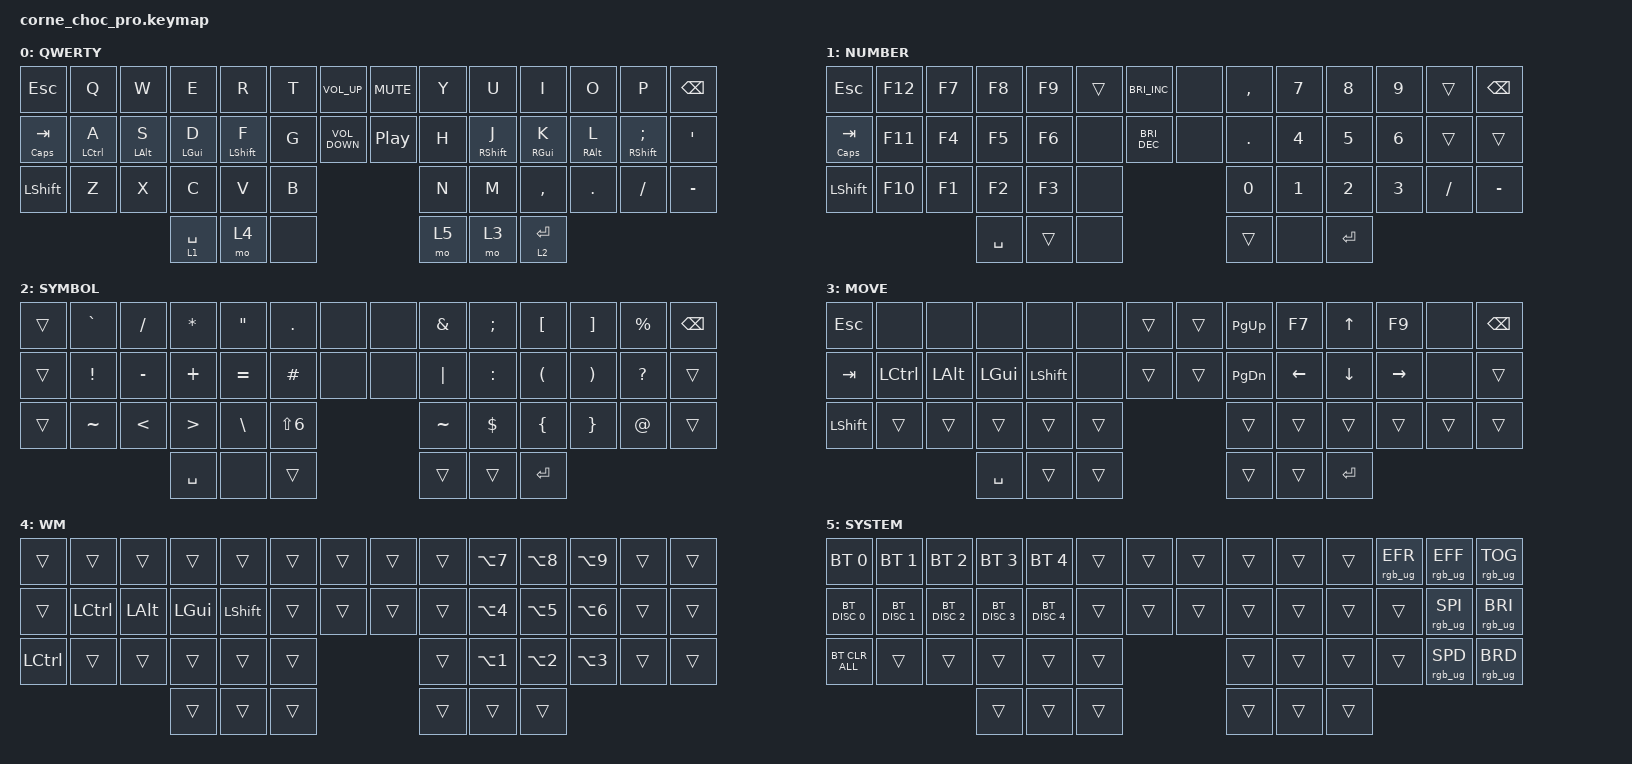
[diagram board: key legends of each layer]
/*
 * Copyright (c) 2020 The ZMK Contributors
 *
 * SPDX-License-Identifier: MIT
 */

#include <dt-bindings/zmk/behaviors.h>
#include <behaviors.dtsi>
#include <dt-bindings/zmk/bt.h>
#include <dt-bindings/zmk/keys.h>
#include <dt-bindings/zmk/rgb.h>

#define LHYP LS(LA(LC(LGUI)))   /* ⇧⌥⌃⌘  on the left side  */
#define RHYP RS(RA(RC(RGUI)))   /* ⇧⌥⌃⌘  on the right side */
#define KEYS_L 0 1 2 3 4 5 6 14 15 16 17 18 19 20 28 29 30 31 32 33 40 41 42
#define KEYS_R 7 8 9 10 11 12 13 21 22 23 24 25 26 27 34 35 36 37 38 39 43 44 45

/ {
    behaviors {
        hml: home_row_mod_left {
            compatible = "zmk,behavior-hold-tap";
            #binding-cells = <2>;
            flavor = "balanced";
            require-prior-idle-ms = <150>;   /* keeps fast typing snappy   */
            tapping-term-ms = <280>;   /* gives you 0.28 s to decide */
            quick-tap-ms = <225>;   /* repeat-tap grace window    */
            bindings = <&kp>, <&kp>;

            /* hold-trigger-key-positions = <KEYS_R>; */

            hold-trigger-on-release;
        };

        hmr: home_row_mod_right {
            compatible = "zmk,behavior-hold-tap";
            #binding-cells = <2>;
            flavor = "balanced";
            require-prior-idle-ms = <150>;
            tapping-term-ms = <280>;
            quick-tap-ms = <225>;
            bindings = <&kp>, <&kp>;

            /* hold-trigger-key-positions = <KEYS_L>; */

            hold-trigger-on-release;
        };
    };

    keymap {
        compatible = "zmk,keymap";

        default_layer {
            display-name = "QWERTY";
            bindings = <
&kp ESC         &kp Q                &kp W            &kp E            &kp R              &kp T  &kp C_VOLUME_UP    &kp C_MUTE        &kp Y  &kp U               &kp I             &kp O             &kp P                  &kp BSPC
&mt CAPS TAB    &hml LEFT_CONTROL A  &hml LEFT_ALT S  &hml LEFT_GUI D  &hml LEFT_SHIFT F  &kp G  &kp C_VOLUME_DOWN  &kp C_PLAY_PAUSE  &kp H  &hmr RIGHT_SHIFT J  &hmr RIGHT_GUI K  &hmr RIGHT_ALT L  &hmr RIGHT_SHIFT SEMI  &kp APOS
&kp LEFT_SHIFT  &kp Z                &kp X            &kp C            &kp V              &kp B                                       &kp N  &kp M               &kp COMMA         &kp DOT           &kp FSLH               &kp MINUS
                                                      &lt 1 SPACE      &mo 4              &none                                       &mo 5  &mo 3               &lt 2 ENTER
            >;
        };

        number {
            display-name = "NUMBER";
            bindings = <
&kp ESCAPE      &kp F12  &kp F7  &kp F8     &kp F9  &trans  &kp C_BRIGHTNESS_INC  &none  &kp COMMA  &kp N7  &kp N8     &kp N9  &trans    &kp BSPC
&mt CAPS TAB    &kp F11  &kp F4  &kp F5     &kp F6  &none   &kp C_BRIGHTNESS_DEC  &none  &kp DOT    &kp N4  &kp N5     &kp N6  &trans    &trans
&kp LEFT_SHIFT  &kp F10  &kp F1  &kp F2     &kp F3  &none                                &kp N0     &kp N1  &kp N2     &kp N3  &kp FSLH  &kp MINUS
                                 &kp SPACE  &trans  &none                                &trans     &none   &kp ENTER
            >;
        };

        symbol_layer {
            display-name = "SYMBOL";
            bindings = <
&trans  &kp GRAVE        &kp SLASH      &kp ASTERISK      &kp DOUBLE_QUOTES  &kp PERIOD        &none  &none  &kp AMPERSAND  &kp SEMI    &kp LEFT_BRACKET      &kp RIGHT_BRACKET      &kp PERCENT   &kp BACKSPACE
&trans  &kp EXCLAMATION  &kp MINUS      &kp PLUS          &kp EQUAL          &kp HASH          &none  &none  &kp PIPE       &kp COLON   &kp LEFT_PARENTHESIS  &kp RIGHT_PARENTHESIS  &kp QUESTION  &trans
&trans  &kp TILDE        &kp LESS_THAN  &kp GREATER_THAN  &kp BACKSLASH      &kp LS(NUMBER_6)                &kp TILDE      &kp DOLLAR  &kp LEFT_BRACE        &kp RIGHT_BRACE        &kp AT        &trans
                                        &kp SPACE         &none              &trans                          &trans         &trans      &kp ENTER
            >;
        };

        move {
            display-name = "MOVE";
            bindings = <
&kp ESCAPE      &none             &none         &none         &none           &none   &trans  &trans  &kp PAGE_UP    &kp F7    &kp UP_ARROW  &kp F9     &none   &kp BACKSPACE
&kp TAB         &kp LEFT_CONTROL  &kp LEFT_ALT  &kp LEFT_GUI  &kp LEFT_SHIFT  &none   &trans  &trans  &kp PAGE_DOWN  &kp LEFT  &kp DOWN      &kp RIGHT  &none   &trans
&kp LEFT_SHIFT  &trans            &trans        &trans        &trans          &trans                  &trans         &trans    &trans        &trans     &trans  &trans
                                                &kp SPACE     &trans          &trans                  &trans         &trans    &kp ENTER
            >;
        };

        WM {
            display-name = "WM";
            bindings = <
&trans     &trans     &trans    &trans    &trans     &trans  &trans  &trans  &trans  &kp LA(N7)  &kp LA(N8)  &kp LA(N9)  &trans  &trans
&trans     &kp LCTRL  &kp LALT  &kp LGUI  &kp LSHFT  &trans  &trans  &trans  &trans  &kp LA(N4)  &kp LA(N5)  &kp LA(N6)  &trans  &trans
&kp LCTRL  &trans     &trans    &trans    &trans     &trans                  &trans  &kp LA(N1)  &kp LA(N2)  &kp LA(N3)  &trans  &trans
                                &trans    &trans     &trans                  &trans  &trans      &trans
            >;
        };

        system {
            bindings = <
&bt BT_SEL 0    &bt BT_SEL 1   &bt BT_SEL 2   &bt BT_SEL 3   &bt BT_SEL 4   &trans  &trans  &trans  &trans  &trans  &trans  &rgb_ug RGB_EFR  &rgb_ug RGB_EFF  &rgb_ug RGB_TOG
&bt BT_DISC 0   &bt BT_DISC 1  &bt BT_DISC 2  &bt BT_DISC 3  &bt BT_DISC 4  &trans  &trans  &trans  &trans  &trans  &trans  &trans           &rgb_ug RGB_SPI  &rgb_ug RGB_BRI
&bt BT_CLR_ALL  &trans         &trans         &trans         &trans         &trans                  &trans  &trans  &trans  &trans           &rgb_ug RGB_SPD  &rgb_ug RGB_BRD
                                              &trans         &trans         &trans                  &trans  &trans  &trans
            >;

            label = "SYSTEM";
        };
    };
};
